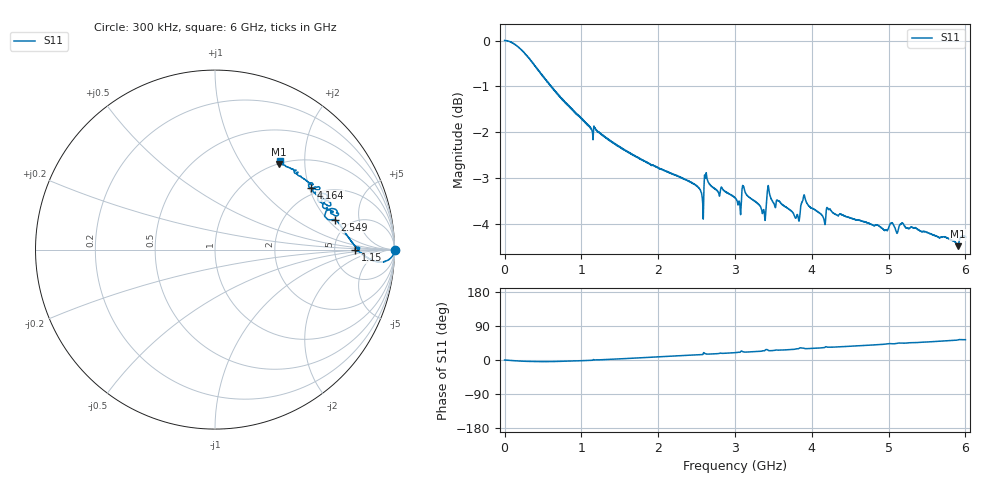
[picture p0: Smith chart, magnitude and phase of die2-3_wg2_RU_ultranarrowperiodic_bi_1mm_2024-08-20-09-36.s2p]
!Keysight Technologies,P9374A,MY57304198,A.17.20.09
!Date: Tuesday, August 20, 2024 09:37:15
!Correction: S11(C  1-Port  )
!S21(C  1-Port  )
!S12(Off)
!S22(Off)
!S2P File: Measurements: S11, S21, S12, S22:
# Hz S  dB  R 50
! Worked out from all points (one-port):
!   6000 points, 300 kHz to 6 GHz, reference 50 ohm
!   lowest |S11| = -4.5 dB at 5.901 GHz (marker M1), VSWR 3.95, Z = 50.4 + j74.6 ohm
!   |S11| at or under -10 dB: nowhere
!   S11 on the Smith chart (normalised r, x): 300 kHz: open; 1.15 GHz: 8.08, -0.12; 2.549 GHz: 3.79, +2.40; 4.164 GHz: 1.78, +2.05; 6 GHz: 0.97, +1.52
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300000  0.00 -0.0  -200.00 45.0  -200.00 45.0  -200.00 45.0
4.023469e8  -0.57 -4.2  -200.00 45.0  -200.00 45.0  -200.00 45.0
1.000417e9  -1.69 -1.8  -200.00 45.0  -200.00 45.0  -200.00 45.0
1.150434e9  -2.16 -0.2  -200.00 45.0  -200.00 45.0  -200.00 45.0
2.000533e9  -2.77 8.3  -200.00 45.0  -200.00 45.0  -200.00 45.0
2.548597e9  -3.26 14.1  -200.00 45.0  -200.00 45.0  -200.00 45.0
2.616605e9  -3.01 16.7  -200.00 45.0  -200.00 45.0  -200.00 45.0
2.670612e9  -3.15 15.7  -200.00 45.0  -200.00 45.0  -200.00 45.0
3.00065e9  -3.44 19.3  -200.00 45.0  -200.00 45.0  -200.00 45.0
3.057657e9  -3.52 20.3  -200.00 45.0  -200.00 45.0  -200.00 45.0
3.102662e9  -3.17 21.8  -200.00 45.0  -200.00 45.0  -200.00 45.0
3.330689e9  -3.63 23.0  -200.00 45.0  -200.00 45.0  -200.00 45.0
3.382695e9  -3.78 24.3  -200.00 45.0  -200.00 45.0  -200.00 45.0
3.421699e9  -3.29 26.9  -200.00 45.0  -200.00 45.0  -200.00 45.0
3.492707e9  -3.52 24.9  -200.00 45.0  -200.00 45.0  -200.00 45.0
3.822746e9  -3.86 29.6  -200.00 45.0  -200.00 45.0  -200.00 45.0
3.873752e9  -3.52 31.4  -200.00 45.0  -200.00 45.0  -200.00 45.0
4.000767e9  -3.66 30.7  -200.00 45.0  -200.00 45.0  -200.00 45.0
4.163786e9  -3.95 32.8  -200.00 45.0  -200.00 45.0  -200.00 45.0
5.000883e9  -4.09 43.2  -200.00 45.0  -200.00 45.0  -200.00 45.0
5.900988e9  -4.49 53.1  -200.00 45.0  -200.00 45.0  -200.00 45.0
6e9  -4.29 53.6  -200.00 45.0  -200.00 45.0  -200.00 45.0
